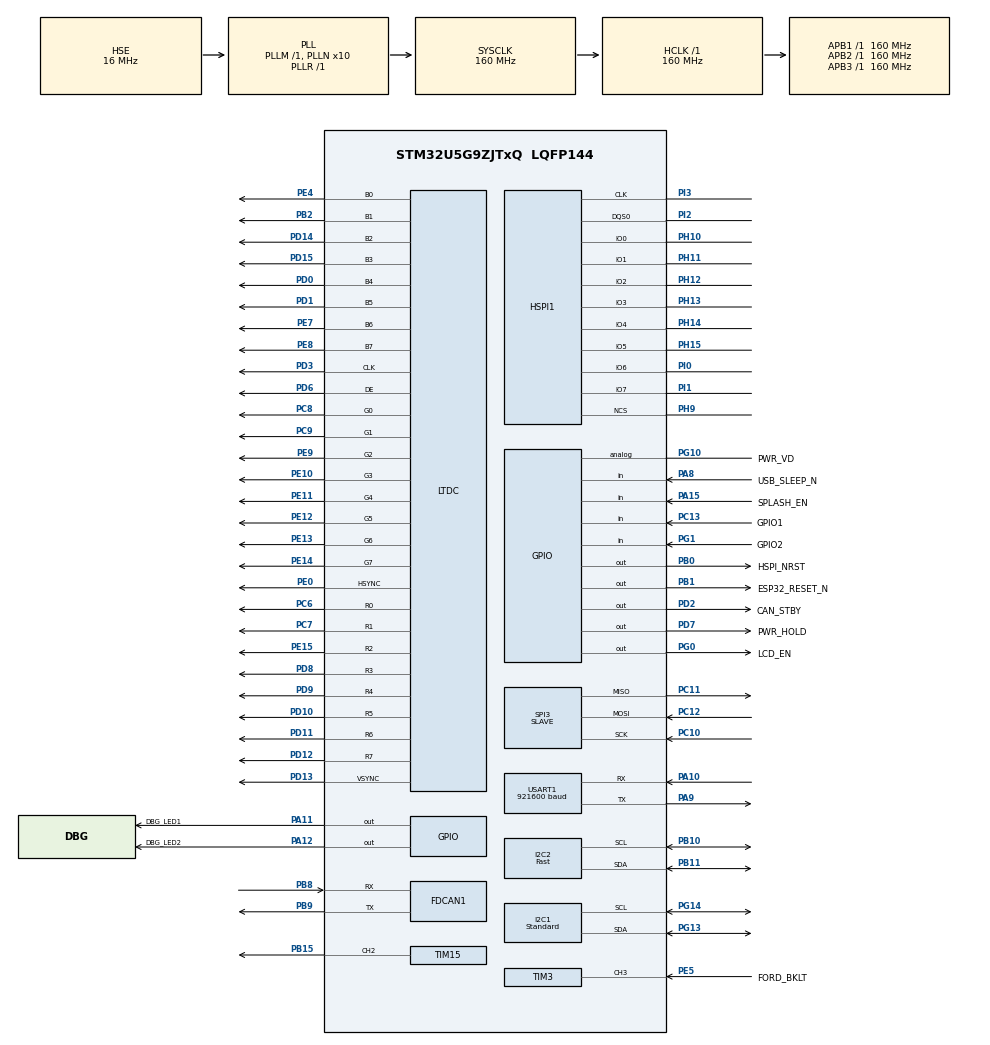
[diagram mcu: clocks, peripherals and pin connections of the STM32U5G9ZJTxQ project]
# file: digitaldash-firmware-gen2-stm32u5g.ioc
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CORTEX_M33_NS.AccessPermission-Cortex_Memory_Protection_Unit_Region0_Settings=MPU_REGION_PRIV_RO
CORTEX_M33_NS.AccessPermission-Cortex_Memory_Protection_Unit_Region1_Settings=MPU_REGION_ALL_RW
CORTEX_M33_NS.AllocateAttribute-Cortex_Memory_Protection_Unit_Region0_Settings=MPU_R_ALLOCATE
CORTEX_M33_NS.AttributesIndex-Cortex_Memory_Protection_Unit_Region1_Settings=MPU_ATTRIBUTES_NUMBER1
CORTEX_M33_NS.BaseAddress-Cortex_Memory_Protection_Unit_Region0_Settings=0x08000000
CORTEX_M33_NS.BaseAddress-Cortex_Memory_Protection_Unit_Region1_Settings=0xA0000000
CORTEX_M33_NS.CacheableAttribute-Cortex_Memory_Protection_Unit_Region1_Settings=MPU_NOT_CACHEABLE
CORTEX_M33_NS.Enable-Cortex_Memory_Protection_Unit_Region0_Settings=MPU_REGION_ENABLE
CORTEX_M33_NS.Enable-Cortex_Memory_Protection_Unit_Region1_Settings=MPU_REGION_ENABLE
CORTEX_M33_NS.LimitAddress-Cortex_Memory_Protection_Unit_Region0_Settings=0x083FFFFF
CORTEX_M33_NS.LimitAddress-Cortex_Memory_Protection_Unit_Region1_Settings=0xA3FFFFFF
CORTEX_M33_NS.MPU_Control=__NULL
CORTEX_M33_NS.Number-Cortex_Memory_Protection_Unit_Region1_Settings=MPU_REGION_NUMBER1
CORTEX_M33_NS.TransientAttribute-Cortex_Memory_Protection_Unit_Region1_Settings=MPU_NON_TRANSIENT
CORTEX_M33_NS.userName=CORTEX_M33
DMA2D.ColorMode=DMA2D_OUTPUT_ARGB8888
DMA2D.Mode=DMA2D_M2M
FDCAN1.AutoRetransmission=ENABLE
FDCAN1.CalculateBaudRateNominal=500000
FDCAN1.CalculateTimeBitNominal=2000
FDCAN1.CalculateTimeQuantumNominal=125.0
FDCAN1.ClockDivider=FDCAN_CLOCK_DIV1
FDCAN1.DataPrescaler=10
FDCAN1.DataTimeSeg1=13
FDCAN1.DataTimeSeg2=2
FDCAN1.ExtFiltersNbr=0
FDCAN1.Mode=FDCAN_MODE_NORMAL
FDCAN1.NominalPrescaler=10
FDCAN1.NominalTimeSeg1=13
FDCAN1.NominalTimeSeg2=2
FDCAN1.ProtocolException=DISABLE
FDCAN1.StdFiltersNbr=28
FLASH.B1_BLOCK_active=true
FLASH.B1_endPage=511
FLASH.B2_Bank=FLASH_BANK_2
FLASH.B2_endPage=255
FLASH.OB_Boot_Configuration_active_NS0=true
FLASH.OB_NSBOOTADD0_Address=0x08000000
GPDMA1.CIRCULARMODE_GPDMACH0=DISABLE
GPDMA1.CIRCULARMODE_GPDMACH1=ENABLE
GPDMA1.DESTINC_GPDMACH1=DMA_DINC_INCREMENTED
GPDMA1.DIRECTION_GPDMACH0=DMA_MEMORY_TO_PERIPH
GPDMA1.IPHANDLE_GPDMACH0-SIMPLEREQUEST_GPDMACH0=__NULL
GPDMA1.IPHANDLE_GPDMACH1-SIMPLEREQUEST_GPDMACH1=__NULL
GPDMA1.PRIORITY_GPDMACH0=DMA_LOW_PRIORITY_MID_WEIGHT
GPDMA1.REQUEST_GPDMACH0=GPDMA1_REQUEST_USART1_TX
GPDMA1.REQUEST_GPDMACH1=GPDMA1_REQUEST_USART1_RX
GPDMA1.SRCINC_GPDMACH0=DMA_SINC_INCREMENTED
GPDMA1.TRIGGERPOLARITY_GPDMACH0=DMA_TRIG_POLARITY_MASKED
GTZC.MPCBB1_PrivConfig_array=00000000\:00000000\:00000000\:00000000\:00000000\:00000000\:00000000\:00000000\:00000000\:00000000\:00000000\:00000000\:00000000\:00000000\:00000000\:00000000\:00000000\:00000000\:00000000\:00000000\:00000000\:00000000\:00000000\:00000000\:00000000\:00000000\:00000000\:00000000\:00000000\:00000000\:00000000\:00000000\:00000000\:00000000\:00000000\:00000000\:00000000\:00000000\:00000000\:00000000\:00000000\:00000000\:00000000\:00000000\:00000000\:00000000\:00000000\:00000000
GTZC.MPCBB1_SecConfig_array=00000000\:00000000\:00000000\:00000000\:00000000\:00000000\:00000000\:00000000\:00000000\:00000000\:00000000\:00000000\:00000000\:00000000\:00000000\:00000000\:00000000\:00000000\:00000000\:00000000\:00000000\:00000000\:00000000\:00000000\:00000000\:00000000\:00000000\:00000000\:00000000\:00000000\:00000000\:00000000\:00000000\:00000000\:00000000\:00000000\:00000000\:00000000\:00000000\:00000000\:00000000\:00000000\:00000000\:00000000\:00000000\:00000000\:00000000\:00000000
GTZC.MPCBB2_Area2_Privilege_Start_Address=0x200C0000
GTZC.MPCBB2_Area_Privilege_Start_Address=0x200C0000
GTZC.MPCBB2_PrivConfig_array=00000000\:00000000\:00000000\:00000000
GTZC.MPCBB2_SecConfig_array=00000000\:00000000\:00000000\:00000000
GTZC.MPCBB3_Area2_Privilege_Start_Address=0x200D0000
GTZC.MPCBB3_Area_Privilege_Start_Address=0x200D0000
GTZC.MPCBB3_PrivConfig_array=00000000\:00000000\:00000000\:00000000\:00000000\:00000000\:00000000\:00000000\:00000000\:00000000\:00000000\:00000000\:00000000\:00000000\:00000000\:00000000\:00000000\:00000000\:00000000\:00000000\:00000000\:00000000\:00000000\:00000000\:00000000\:00000000\:00000000\:00000000\:00000000\:00000000\:00000000\:00000000\:00000000\:00000000\:00000000\:00000000\:00000000\:00000000\:00000000\:00000000\:00000000\:00000000\:00000000\:00000000\:00000000\:00000000\:00000000\:00000000\:00000000\:00000000\:00000000\:00000000
GTZC.MPCBB3_SecConfig_array=00000000\:00000000\:00000000\:00000000\:00000000\:00000000\:00000000\:00000000\:00000000\:00000000\:00000000\:00000000\:00000000\:00000000\:00000000\:00000000\:00000000\:00000000\:00000000\:00000000\:00000000\:00000000\:00000000\:00000000\:00000000\:00000000\:00000000\:00000000\:00000000\:00000000\:00000000\:00000000\:00000000\:00000000\:00000000\:00000000\:00000000\:00000000\:00000000\:00000000\:00000000\:00000000\:00000000\:00000000\:00000000\:00000000\:00000000\:00000000\:00000000\:00000000\:00000000\:00000000
GTZC.MPCBB4_PrivConfig_array=00000000
GTZC.MPCBB4_SecConfig_array=00000000
GTZC.MPCBB5_Area2_Privilege_Start_Address=0x201A0000
GTZC.MPCBB5_Area_Privilege_Start_Address=0x201A0000
GTZC.MPCBB5_PrivConfig_array=00000000\:00000000\:00000000\:00000000\:00000000\:00000000\:00000000\:00000000\:00000000\:00000000\:00000000\:00000000\:00000000\:00000000\:00000000\:00000000\:00000000\:00000000\:00000000\:00000000\:00000000\:00000000\:00000000\:00000000\:00000000\:00000000\:00000000\:00000000\:00000000\:00000000\:00000000\:00000000\:00000000\:00000000\:00000000\:00000000\:00000000\:00000000\:00000000\:00000000\:00000000\:00000000\:00000000\:00000000\:00000000\:00000000\:00000000\:00000000\:00000000\:00000000\:00000000\:00000000
GTZC.MPCBB5_SecConfig_array=00000000\:00000000\:00000000\:00000000\:00000000\:00000000\:00000000\:00000000\:00000000\:00000000\:00000000\:00000000\:00000000\:00000000\:00000000\:00000000\:00000000\:00000000\:00000000\:00000000\:00000000\:00000000\:00000000\:00000000\:00000000\:00000000\:00000000\:00000000\:00000000\:00000000\:00000000\:00000000\:00000000\:00000000\:00000000\:00000000\:00000000\:00000000\:00000000\:00000000\:00000000\:00000000\:00000000\:00000000\:00000000\:00000000\:00000000\:00000000\:00000000\:00000000\:00000000\:00000000
GTZC.MPCBB6_PrivConfig_array=00000000\:00000000\:00000000\:00000000\:00000000\:00000000\:00000000\:00000000\:00000000\:00000000\:00000000\:00000000\:00000000\:00000000\:00000000\:00000000\:00000000\:00000000\:00000000\:00000000\:00000000\:00000000\:00000000\:00000000\:00000000\:00000000\:00000000\:00000000\:00000000\:00000000\:00000000\:00000000
GTZC.MPCBB6_SecConfig_array=00000000\:00000000\:00000000\:00000000\:00000000\:00000000\:00000000\:00000000\:00000000\:00000000\:00000000\:00000000\:00000000\:00000000\:00000000\:00000000\:00000000\:00000000\:00000000\:00000000\:00000000\:00000000\:00000000\:00000000\:00000000\:00000000\:00000000\:00000000\:00000000\:00000000\:00000000\:00000000
HSPI1.ChipSelectBoundary=HAL_XSPI_BONDARYOF_NONE
HSPI1.ChipSelectHighTimeCycle=2
HSPI1.DeviceType=SPI_DEVICE_FLASH
HSPI1.FifoThresholdByte=4
HSPI1.MemorySize=HAL_XSPI_SIZE_512MB
HSPI1.MemoryType=HAL_XSPI_MEMTYPE_MACRONIX
I2C1.AutonomousMode=AUTONOMOUS_MODE_DISABLE
I2C1.I2C_Speed_Mode=I2C_Standard
I2C1.OwnAddress=0x2a
I2C1.Timing=0x30909DEC
I2C2.I2C_Speed_Mode=I2C_Fast
I2C2.Timing=0x00F07BFF
LTDC.ActiveH=480
LTDC.ActiveW=800
LTDC.Alpha_L0=255
LTDC.BlendingFactor1_L0=LTDC_BLENDING_FACTOR1_PAxCA
LTDC.BlendingFactor2_L0=LTDC_BLENDING_FACTOR2_PAxCA
LTDC.HBP=16
LTDC.HFP=100
LTDC.HSPolarity=LTDC_HSPOLARITY_AL
LTDC.HSync=30
LTDC.ImageHeight_L0=200
LTDC.ImageWidth_L0=800
LTDC.Layers=0
LTDC.PCPolarity=LTDC_PCPOLARITY_IPC
LTDC.PixelFormat_L0=LTDC_PIXEL_FORMAT_RGB888
LTDC.VBP=10
LTDC.VFP=22
LTDC.VSPolarity=LTDC_VSPOLARITY_AL
LTDC.VSync=13
LTDC.WindowX1_L0=800
LTDC.WindowY1_L0=200
Mcu.Family=STM32U5
Mcu.Name=STM32U5G9ZJTxQ
Mcu.Package=LQFP144
NVIC.DMA2D_IRQn=true\:1\:0\:true\:false\:true\:true\:true\:true
NVIC.FDCAN1_IT0_IRQn=true\:0\:0\:false\:false\:true\:true\:true\:true
NVIC.GPDMA1_Channel0_IRQn=true\:0\:0\:false\:false\:true\:false\:true\:true
NVIC.GPDMA1_Channel1_IRQn=true\:0\:0\:false\:false\:true\:false\:true\:true
NVIC.GPU2D_IRQn=true\:1\:0\:true\:false\:true\:true\:true\:true
NVIC.I2C1_ER_IRQn=true\:0\:0\:false\:false\:true\:true\:true\:true
NVIC.I2C1_EV_IRQn=true\:0\:0\:false\:false\:true\:true\:true\:true
NVIC.LTDC_IRQn=true\:1\:0\:true\:false\:true\:true\:true\:true
NVIC.PriorityGroup=NVIC_PRIORITYGROUP_4
NVIC.SPI3_IRQn=true\:0\:0\:false\:false\:true\:true\:true\:true
NVIC.TIM17_IRQn=true\:0\:0\:false\:false\:true\:true\:true\:true
NVIC.USART1_IRQn=true\:2\:0\:true\:false\:true\:true\:true\:true
PA10.Mode=Asynchronous
PA10.Signal=USART1_RX
PA11.GPIO_Label=DBG_LED1
PA11.Signal=GPIO_Output
PA12.GPIO_Label=DBG_LED2
PA12.Signal=GPIO_Output
PA13\ (JTMS/SWDIO).Mode=Trace_Asynchronous_SW
PA13\ (JTMS/SWDIO).Signal=DEBUG_JTMS-SWDIO
PA14\ (JTCK/SWCLK).Mode=Trace_Asynchronous_SW
PA14\ (JTCK/SWCLK).Signal=DEBUG_JTCK-SWCLK
PA15\ (JTDI).GPIO_Label=SPLASH_EN
PA15\ (JTDI).GPIO_PuPd=GPIO_PULLDOWN
PA15\ (JTDI).Signal=GPIO_Input
PA5.Signal=USART3_RX
PA7.Signal=USART3_TX
PA8.GPIO_Label=USB_SLEEP_N
PA8.Signal=GPIO_Input
PA9.Mode=Asynchronous
PA9.Signal=USART1_TX
PB0.GPIO_Label=HSPI_NRST
PB0.Signal=GPIO_Output
PB1.GPIO_Label=ESP32_RESET_N
PB1.GPIO_ModeDefaultOutputPP=GPIO_MODE_OUTPUT_PP
PB1.GPIO_PuPd=GPIO_NOPULL
PB1.PinState=GPIO_PIN_RESET
PB1.Signal=GPIO_Output
PB10.GPIO_Pu=GPIO_NOPULL
PB10.GPIO_Speed=GPIO_SPEED_FREQ_LOW
PB10.Mode=I2C
PB10.Signal=I2C2_SCL
PB11.GPIO_Pu=GPIO_NOPULL
PB11.GPIO_Speed=GPIO_SPEED_FREQ_LOW
PB11.Mode=I2C
PB11.Signal=I2C2_SDA
PB15.Signal=S_TIM15_CH2
PB2.GPIO_Speed=GPIO_SPEED_FREQ_HIGH
PB2.Mode=RGB888
PB2.Signal=LTDC_B1
PB3\ (JTDO/TRACESWO).Mode=Trace_Asynchronous_SW
PB3\ (JTDO/TRACESWO).Signal=DEBUG_JTDO-SWO
PB5.Signal=SPI1_MOSI
PB8.Mode=FDCAN_Activate
PB8.Signal=FDCAN1_RX
PB9.Mode=FDCAN_Activate
PB9.Signal=FDCAN1_TX
PC10.Mode=Full_Duplex_Slave
PC10.Signal=SPI3_SCK
PC11.Mode=Full_Duplex_Slave
PC11.Signal=SPI3_MISO
PC12.Mode=Full_Duplex_Slave
PC12.Signal=SPI3_MOSI
PC13.GPIO_Label=GPIO1
PC13.Signal=GPIO_Input
PC6.GPIO_Speed=GPIO_SPEED_FREQ_HIGH
PC6.Mode=RGB888
PC6.Signal=LTDC_R0
PC7.GPIO_Speed=GPIO_SPEED_FREQ_HIGH
PC7.Mode=RGB888
PC7.Signal=LTDC_R1
PC8.GPIO_Speed=GPIO_SPEED_FREQ_HIGH
PC8.Mode=RGB888
PC8.Signal=LTDC_G0
PC9.GPIO_Speed=GPIO_SPEED_FREQ_HIGH
PC9.Mode=RGB888
PC9.Signal=LTDC_G1
PD0.GPIO_Speed=GPIO_SPEED_FREQ_HIGH
PD0.Mode=RGB888
PD0.Signal=LTDC_B4
PD1.GPIO_Speed=GPIO_SPEED_FREQ_HIGH
PD1.Mode=RGB888
PD1.Signal=LTDC_B5
PD10.GPIO_Speed=GPIO_SPEED_FREQ_HIGH
PD10.Mode=RGB888
PD10.Signal=LTDC_R5
PD11.GPIO_Speed=GPIO_SPEED_FREQ_HIGH
PD11.Mode=RGB888
PD11.Signal=LTDC_R6
PD12.GPIO_Speed=GPIO_SPEED_FREQ_HIGH
PD12.Mode=RGB888
PD12.Signal=LTDC_R7
PD13.GPIO_Speed=GPIO_SPEED_FREQ_HIGH
PD13.Mode=RGB888
PD13.Signal=LTDC_VSYNC
PD14.GPIO_Speed=GPIO_SPEED_FREQ_HIGH
PD14.Mode=RGB888
PD14.Signal=LTDC_B2
PD15.GPIO_Speed=GPIO_SPEED_FREQ_HIGH
PD15.Mode=RGB888
PD15.Signal=LTDC_B3
PD2.GPIO_Label=CAN_STBY
PD2.Signal=GPIO_Output
PD3.GPIO_Speed=GPIO_SPEED_FREQ_HIGH
PD3.Mode=RGB888
PD3.Signal=LTDC_CLK
PD6.GPIO_Speed=GPIO_SPEED_FREQ_HIGH
PD6.Mode=RGB888
PD6.Signal=LTDC_DE
PD7.GPIO_Label=PWR_HOLD
PD7.Signal=GPIO_Output
PD8.GPIO_Speed=GPIO_SPEED_FREQ_HIGH
PD8.Mode=RGB888
PD8.Signal=LTDC_R3
PD9.GPIO_Speed=GPIO_SPEED_FREQ_HIGH
PD9.Mode=RGB888
PD9.Signal=LTDC_R4
PE0.GPIO_Speed=GPIO_SPEED_FREQ_HIGH
PE0.Mode=RGB888
PE0.Signal=LTDC_HSYNC
PE10.GPIO_Speed=GPIO_SPEED_FREQ_HIGH
PE10.Mode=RGB888
PE10.Signal=LTDC_G3
PE11.GPIO_Speed=GPIO_SPEED_FREQ_HIGH
PE11.Mode=RGB888
PE11.Signal=LTDC_G4
PE12.GPIO_Speed=GPIO_SPEED_FREQ_HIGH
PE12.Mode=RGB888
PE12.Signal=LTDC_G5
PE13.GPIO_Speed=GPIO_SPEED_FREQ_HIGH
PE13.Mode=RGB888
PE13.Signal=LTDC_G6
PE14.GPIO_Speed=GPIO_SPEED_FREQ_HIGH
PE14.Mode=RGB888
PE14.Signal=LTDC_G7
PE15.GPIO_Speed=GPIO_SPEED_FREQ_HIGH
PE15.Mode=RGB888
PE15.Signal=LTDC_R2
PE4.GPIO_Speed=GPIO_SPEED_FREQ_HIGH
PE4.Mode=RGB888
PE4.Signal=LTDC_B0
PE5.GPIO_Label=FORD_BKLT
PE5.Signal=S_TIM3_CH3
PE7.GPIO_Speed=GPIO_SPEED_FREQ_HIGH
PE7.Mode=RGB888
PE7.Signal=LTDC_B6
PE8.GPIO_Speed=GPIO_SPEED_FREQ_HIGH
PE8.Mode=RGB888
PE8.Signal=LTDC_B7
PE9.GPIO_Speed=GPIO_SPEED_FREQ_HIGH
PE9.Mode=RGB888
PE9.Signal=LTDC_G2
PG0.GPIO_Label=LCD_EN
PG0.PinState=GPIO_PIN_RESET
PG0.Signal=GPIO_Output
PG1.GPIO_Label=GPIO2
PG1.Signal=GPIO_Input
PG10.GPIO_Label=PWR_VD
PG10.Signal=GPIO_Analog
PG13.GPIO_Pu=GPIO_PULLUP
PG13.GPIO_Speed=GPIO_SPEED_FREQ_VERY_HIGH
PG13.Mode=I2C
PG13.Signal=I2C1_SDA
PG14.GPIO_Pu=GPIO_PULLUP
PG14.GPIO_Speed=GPIO_SPEED_FREQ_VERY_HIGH
PG14.Mode=I2C
PG14.Signal=I2C1_SCL
PH0-OSC_IN\ (PH0).Mode=HSE-External-Oscillator
PH0-OSC_IN\ (PH0).Signal=RCC_OSC_IN
PH1-OSC_OUT\ (PH1).Mode=HSE-External-Oscillator
PH1-OSC_OUT\ (PH1).Signal=RCC_OSC_OUT
PH10.Mode=octo_mode
PH10.Signal=HSPI1_IO0
PH11.Mode=octo_mode
PH11.Signal=HSPI1_IO1
PH12.Mode=octo_mode
PH12.Signal=HSPI1_IO2
PH13.Mode=octo_mode
PH13.Signal=HSPI1_IO3
PH14.Mode=octo_mode
PH14.Signal=HSPI1_IO4
PH15.Mode=octo_mode
PH15.Signal=HSPI1_IO5
PH9.Mode=octo_mode
PH9.Signal=HSPI1_NCS
PI0.Mode=octo_mode
PI0.Signal=HSPI1_IO6
PI1.Mode=octo_mode
PI1.Signal=HSPI1_IO7
PI2.Mode=octo_mode
PI2.Signal=HSPI1_DQS0
PI3.Mode=octo_mode
PI3.Signal=HSPI1_CLK
PWR.PowerMode=PWR_SMPS_SUPPLY
ProjectManager.HeapSize=0x200
ProjectManager.StackSize=0x400
ProjectManager.TargetToolchain=STM32CubeIDE
RCC.ADCFreq_Value=16000000
RCC.AHBFreq_Value=160000000
RCC.APB1Freq_Value=160000000
RCC.APB1TimFreq_Value=160000000
RCC.APB2Freq_Value=160000000
RCC.APB2TimFreq_Value=160000000
RCC.APB3Freq_Value=160000000
RCC.CortexFreq_Value=160000000
RCC.EPOD_VALUE=16000000
RCC.HCLKFreq_Value=160000000
RCC.HSE_VALUE=16000000
RCC.HSI48_VALUE=48000000
RCC.HSI_VALUE=16000000
RCC.HSPICLockSelection=RCC_HSPICLKSOURCE_PLL2
RCC.LSE_VALUE=32768
RCC.LSIDIV_VALUE=32000
RCC.LTDCCLockSelection=RCC_LTDCCLKSOURCE_PLL3
RCC.MSIClockRange=RCC_MSIRANGE_0
RCC.MSI_VALUE=48000000
RCC.PLL1P=8
RCC.PLL1R=1
RCC.PLL2FRACN=5120
RCC.PLL2N=15
RCC.PLL2R=4
RCC.PLL2Source=RCC_PLLSOURCE_HSE
RCC.PLL3FRACN=3584
RCC.PLL3N=8
RCC.PLL3R=3
RCC.PLL3Source=RCC_PLLSOURCE_HSE
RCC.PLLFRACN=0
RCC.PLLN=10
RCC.PLLSourceVirtual=RCC_PLLSOURCE_HSE
RCC.SYSCLKFreq_VALUE=160000000
RCC.SYSCLKSource=RCC_SYSCLKSOURCE_PLLCLK
RCC.VCOOutputFreq_Value=160000000
SH.S_TIM15_CH2.0=TIM15_CH2,PWM Generation2 CH2
SH.S_TIM3_CH3.0=TIM3_CH3,Input_Capture3_from_TI3
SPI3.Direction=SPI_DIRECTION_2LINES
SPI3.Mode=SPI_MODE_SLAVE
SPI3.VirtualType=VM_SLAVE
TIM15.AutoReloadPreload=TIM_AUTORELOAD_PRELOAD_ENABLE
TIM15.Channel-PWM\ Generation2\ CH2=TIM_CHANNEL_2
TIM15.PeriodNoDither=6399
TIM15.PulseNoDither_2=2560
TIM17.AutoReloadPreload=TIM_AUTORELOAD_PRELOAD_ENABLE
TIM17.PeriodNoDither=9
TIM17.Prescaler=15999
TIM3.Channel-Input_Capture3_from_TI3=TIM_CHANNEL_3
USART1.BaudRate=921600
USART1.Parity=PARITY_EVEN
USART1.VirtualMode-Asynchronous=VM_ASYNC
USART1.WordLength=WORDLENGTH_9B
VP_DCACHE1_VS_DCACHE.Mode=DCACHE_Activate
VP_DCACHE2_VS_DCACHE.Mode=DCACHE_Activate
VP_DMA2D_VS_DMA2D.Mode=DMA2D_Activate
VP_FLASH_SIG_Activate_FlashIP.Mode=Activate_FlashIP
VP_GPDMA1_VS_GPDMACH0.Mode=SIMPLEREQUEST_GPDMACH0
VP_GPDMA1_VS_GPDMACH1.Mode=SIMPLEREQUEST_GPDMACH1
VP_GPU2D_VS_GPU2D.Mode=GPU2D_Activate
VP_GTZC_VS_GTZC_Enable.Mode=GTZC_Enable
VP_ICACHE_VS_ICACHE.Mode=DirectMappedCache
VP_LPBAMQUEUE_VS_QUEUE.Mode=QUEUEMODE
VP_LPBAM_VS_SIG1.Mode=SmartRun
VP_LPBAM_VS_SIG4.Mode=LPDMA1
VP_MEMORYMAP_VS_MEMORYMAP.Mode=CurAppReg
VP_PWR_VS_LPOM.Mode=PowerOptimisation
VP_PWR_VS_SECSignals.Mode=Security/Privilege
VP_RTC_VS_RTC_Activate.Mode=RTC_Enabled
VP_TIM17_VS_ClockSourceINT.Mode=Enable_Timer
VP_TIM3_VS_ClockSourceINT.Mode=Internal
board=STM32U5G9J-DK2

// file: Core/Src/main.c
/* USER CODE BEGIN Header */
/**
  ******************************************************************************
  * @file           : main.c
  * @brief          : Main program body
  ******************************************************************************
  * @attention
  *
  * Copyright (c) 2025 STMicroelectronics.
  * All rights reserved.
  *
  * This software is licensed under terms that can be found in the LICENSE file
  * in the root directory of this software component.
  * If no LICENSE file comes with this software, it is provided AS-IS.
  *
  ******************************************************************************
  */
/* USER CODE END Header */
#include "main.h"
#include "dcache.h"
#include "dma2d.h"
#include "fdcan.h"
#include "flash.h"
#include "gpdma.h"
#include "gpu2d.h"
#include "gtzc.h"
#include "hspi.h"
#include "i2c.h"
#include "icache.h"
#include "ltdc.h"
#include "memorymap.h"
#include "rtc.h"
#include "spi.h"
#include "tim.h"
#include "usart.h"
#include "gpio.h"

/* USER CODE BEGIN Includes */
#include <string.h>
#include "stdbool.h"
#include "ltdc.h"
#include "dma2d.h"
#include "lvgl_port_display.h"
#include "stm32u5g9j_discovery_hspi.h"
#include "lib_digital_dash.h"
#include "eeprom_24cw.h"
/* USER CODE END Includes */

/* USER CODE BEGIN PD */
#define BKLT_MIN_DUTY 3
#define BKLT_MAX_DUTY 100
#define BKLT_TIM &htim15
#define BKLT_TIM_CHANNEL TIM_CHANNEL_2

#define ESP32_UART &huart1 /* ESP32 communication channel */
#define ESP32_I2C &hi2c1 /* ESP32 to STM32 I2C channel */
#define EEPROM_I2C &hi2c2 /* EEPROM I2C channel */

#define EXT_CAN_BUS &hfdcan1 /* External CAN bus channel */

#define RX_BUFFER_SIZE 0xFFFF
/*
 * Keep this DMA buffer in internal SRAM.  The STM32U5 system DCACHE caches
 * external-memory traffic, so internal SRAM remains coherent with GPDMA.
 */
uint8_t rx_buffer[RX_BUFFER_SIZE];
/* USER CODE END PD */

/* USER CODE BEGIN PV */
uint32_t CAN_Filter_Count = 0;

/* UART RX'd byte */
#define EEPROM_ADDRESS_SIZE 2
#define EEPROM_DATA_SIZE 1
static uint8_t i2c_rx_index = 0;
static uint8_t i2c_buffer[EEPROM_ADDRESS_SIZE + EEPROM_DATA_SIZE] = {0};
static uint16_t current_register = 0;
static uint32_t uart_rx_read_position = 0;
static volatile bool uart_rx_activity = false;
static volatile bool uart_rx_recovery_requested = false;
static volatile uint32_t uart_rx_error_count = 0;
static volatile uint32_t uart_rx_last_error = HAL_UART_ERROR_NONE;
static volatile uint32_t uart_rx_recovery_count = 0;

// You cannot search hardware filters by ID directly, therefore maintain a map of filter indexes and their IDs.
#define CAN_FILTER_UNUSED 0x0000
uint16_t can_filters[MAX_CAN_FILTERS] = {CAN_FILTER_UNUSED};

#define VIEW_BACKGROUND_USER1_ADDR 0x00000000
#define ERASE_BLOCK_SIZE     MX25LM51245G_ERASE_64K
#define ERASE_BLOCK_BYTES    65536
#define ERASE_TOTAL_BYTES    UI_HOR_RES * UI_VER_RES * UI_BYTES_PER_PIXEL

#define BOOT_COOKIE     0xB0073A3Fu
#define BOOT_COOKIE_INV (~BOOT_COOKIE)

/* USER CODE END PV */

void SystemClock_Config(void);
static void SystemPower_Config(void);
/* USER CODE BEGIN PFP */
static void UART_RecoverRxDma(void);
static void UART_ProcessRxDma(void);

/* USER CODE END PFP */

/* USER CODE BEGIN 0 */

// Function to read data from EEPROM
uint8_t eeprom_read(uint16_t bAdd)
{
	return eeprom_24cw_read(EEPROM_I2C, bAdd);
}

// Function to write data to EEPROM with retries
void eeprom_write(uint16_t bAdd, uint8_t bData)
{
	eeprom_24cw_write(EEPROM_I2C, bAdd, bData);
}

void HAL_SPI_RxCpltCallback(SPI_HandleTypeDef *hspi)
{
	 //HAL_GPIO_TogglePin(GREEN_LED_GPIO_Port, GREEN_LED_Pin);
	 //HAL_SPI_Receive_IT(&hspi1, rx_buffer, sizeof(rx_buffer));
}

/**
  * @brief  Tx Transfer completed callback.
  *   I2cHandle: I2C handle.
  * @note   This example shows a simple way to report end of IT Tx transfer, and
  *         you can add your own implementation.
  */

void HAL_I2C_SlaveTxCpltCallback(I2C_HandleTypeDef *hi2c)
{

}

uint8_t value = 0x12;//eeprom_read(reg);
volatile uint16_t reg = 0;

/**
  * @brief  Rx Transfer completed callback.
  *   I2cHandle: I2C handle
  * @note   This example shows a simple way to report end of IT Rx transfer, and
  *         you can add your own implementation.
  * @retval None
  */
void HAL_I2C_SlaveRxCpltCallback(I2C_HandleTypeDef *hi2c)
{
	if (hi2c == ESP32_I2C) {
		i2c_rx_index++;

		if (i2c_rx_index == 1) {
			// Received first byte (register LSB)
			HAL_I2C_Slave_Seq_Receive_IT(hi2c, &i2c_buffer[1], 1, I2C_NEXT_FRAME);  // now receive second byte (MSB)
		} else if (i2c_rx_index == 2) {
			current_register = (i2c_buffer[1] << 8) | i2c_buffer[0];

			// Now try to receive optional 3rd byte (data) — if it doesn't come, it's a read-only setup
			HAL_I2C_Slave_Seq_Receive_IT(hi2c, &i2c_buffer[2], 1, I2C_LAST_FRAME);
		} else if (i2c_rx_index == 3) {
			// Third byte is data to be written to the register
			write_eeprom(current_register, i2c_buffer[2]);
			i2c_rx_index = 0;  // Reset for next transaction
		} else {
		    // Unexpected extra data
		    i2c_rx_index = 0;
		}
	}
}

/**
  * @brief  Slave Address Match callback.
  *   hi2c Pointer to a I2C_HandleTypeDef structure that contains
  *                the configuration information for the specified I2C.
  *   TransferDirection: Master request Transfer Direction (Write/Read), value of @ref I2C_XferOptions_definition
  *   AddrMatchCode: Address Match Code
  * @retval None
  */
uint32_t count = 0;
void HAL_I2C_AddrCallback(I2C_HandleTypeDef *hi2c, uint8_t TransferDirection, uint16_t AddrMatchCode) {
	if( hi2c == ESP32_I2C ) {
		// Write
		if (TransferDirection == I2C_DIRECTION_TRANSMIT) {
			i2c_rx_index = 0;  // Reset index at start of new write
			if (HAL_I2C_Slave_Seq_Receive_IT(hi2c, i2c_buffer, 1, I2C_FIRST_FRAME) != HAL_OK) {
				Error_Handler();
			}

		// Read
		} else {
			i2c_rx_index = 0; // A read has started, reset the index
			value = get_eeprom_byte(current_register);
			if (HAL_I2C_Slave_Seq_Transmit_IT(hi2c, &value, 1, I2C_FIRST_AND_LAST_FRAME) != HAL_OK) {
				Error_Handler();
			}
		}
	}
}

/**
  * @brief  Listen Complete callback.
  *   hi2c Pointer to a I2C_HandleTypeDef structure that contains
  *                the configuration information for the specified I2C.
  * @retval None
  */
void HAL_I2C_ListenCpltCallback(I2C_HandleTypeDef *hi2c)
{
	HAL_I2C_EnableListen_IT(hi2c);
}

/**
  * @brief  I2C error callbacks.
  *   I2cHandle: I2C handle
  * @note   This example shows a simple way to report transfer error, and you can
  *         add your own implementation.
  * @retval None
  */
void HAL_I2C_ErrorCallback(I2C_HandleTypeDef *hi2c)
{
	uint32_t errorcode = HAL_I2C_GetError(hi2c);

	/* BERR Error commonly occurs during the Direction switch
	 * Here we the software reset bit is set by the HAL error handler
	 * Before resetting this bit, we make sure the I2C lines are released and the bus is free
	 * I am simply reinitializing the I2C to do so
	 */
	if (errorcode == 1)  // BERR Error
	{
		HAL_I2C_DeInit(hi2c);
		HAL_I2C_Init(hi2c);
	}

	HAL_I2C_EnableListen_IT(hi2c);
}

HAL_StatusTypeDef can_filter_add( uint32_t id, uint32_t mask, uint32_t filterIndex, uint32_t FIFO  )
{
	HAL_StatusTypeDef status = HAL_OK;

	//TODO check if CAN is enabled
	if( HAL_FDCAN_GetState(EXT_CAN_BUS) != HAL_FDCAN_STATE_RESET ) {
		status = HAL_FDCAN_Stop(EXT_CAN_BUS);

		// Abort is CAN couldn't be stopped
		if( status != HAL_OK )
			return status;
	}

	/* Declare a CAN filter configuration */
	FDCAN_FilterTypeDef  sFilterConfig;

	/* Verify the filter bank is possible */
	if ( ( filterIndex >= 0 ) && ( filterIndex < MAX_CAN_FILTERS ) )
		sFilterConfig.FilterIndex = filterIndex;
	else
		return -1;

	sFilterConfig.FilterType = FDCAN_FILTER_RANGE;
	sFilterConfig.IdType = FDCAN_STANDARD_ID;
	sFilterConfig.FilterID1 = id;
	sFilterConfig.FilterID2 = 0x7FF;
	sFilterConfig.FilterConfig  = FIFO;
	sFilterConfig.FilterIndex = filterIndex;

	status = HAL_FDCAN_ConfigFilter(EXT_CAN_BUS, &sFilterConfig);

	// Abort is CAN filter did not work
	if( status != HAL_OK )
		return status;

	// The CAN Filter return HAL_OK, log it in the can_filters map.
	can_filters[filterIndex] = id;

	return HAL_FDCAN_Start(EXT_CAN_BUS);
}

HAL_StatusTypeDef can_filter_remove( uint32_t id, uint32_t mask )
{
	HAL_StatusTypeDef status = HAL_OK;

	// Stop the CAN controller if it's not already reset
	if( HAL_FDCAN_GetState(EXT_CAN_BUS) != HAL_FDCAN_STATE_RESET ) {
		status = HAL_FDCAN_Stop(EXT_CAN_BUS);

		// Abort is CAN couldn't be stopped
		if( status != HAL_OK )
			return status;
	}

	uint32_t filterIndex = 0xFFFF;

	// Search for the ID
	for( uint32_t idx = 0; idx < MAX_CAN_FILTERS; idx++ )
	{
		if( can_filters[idx] == id ) {
			filterIndex = idx;
			break;  // Stop searching once found
		}
	}

	// The ID was not found
	if( filterIndex == 0xFFFF )
		return HAL_ERROR;

    // Prepare filter config to disable the filter
    FDCAN_FilterTypeDef sFilterConfig;
    sFilterConfig.FilterIndex  = filterIndex;
    sFilterConfig.FilterConfig = FDCAN_FILTER_DISABLE;
    sFilterConfig.FilterType   = FDCAN_FILTER_MASK;     // Doesn't matter when disabling
    sFilterConfig.IdType       = FDCAN_STANDARD_ID;
    sFilterConfig.FilterID1    = 0;
    sFilterConfig.FilterID2    = 0;

    status = HAL_FDCAN_ConfigFilter(EXT_CAN_BUS, &sFilterConfig);
    if (status != HAL_OK)
        return status;

    // The CAN Filter return HAL_OK, remove it in the can_filters map.
    can_filters[filterIndex] = CAN_FILTER_UNUSED;

    return HAL_FDCAN_Start(EXT_CAN_BUS);
}

void CAN_Filter( uint16_t id, uint8_t enable )
{
	if(enable)
	{
		if( CAN_Filter_Count < MAX_CAN_FILTERS ) {
			can_filter_add( id, 0x7FF, CAN_Filter_Count++, FDCAN_FILTER_TO_RXFIFO0 ); // TODO add error handling
		}
	} else {
		if( CAN_Filter_Count > 0 ) {
			can_filter_remove( id, 0x7FF );
			CAN_Filter_Count--;
		}
	}

}

void process_can_packet( FDCAN_HandleTypeDef *hfdcan, uint32_t fifo )
{
    FDCAN_RxHeaderTypeDef rx_header;
    uint8_t rx_buf[8];
    HAL_FDCAN_GetRxMessage( hfdcan, FDCAN_RX_FIFO0, &rx_header, rx_buf );

    if( rx_header.IdType == FDCAN_STANDARD_ID ) {
    	DigitalDash_Add_CAN_Packet( rx_header.Identifier ,rx_buf);
    }
}

void HAL_FDCAN_RxFifo0Callback(FDCAN_HandleTypeDef *hfdcan, uint32_t RxFifo0ITs)
{
    process_can_packet( hfdcan, RxFifo0ITs );
}

void HAL_FDCAN_RxFifo1MsgPendingCallback(FDCAN_HandleTypeDef *hfdcan, uint32_t RxFifo1ITs)
{
    process_can_packet( hfdcan, RxFifo1ITs );
}

static uint8_t ECU_CAN_Tx( uint8_t data[], uint8_t len )
{
	if( !IS_FDCAN_DLC(len) ) {
		Error_Handler();
	}

	/* Do not send on Listen Only mode */
	if( get_general_can_bus_mode(0) != CAN_BUS_MODE_NORMAL_MODE ) {
		return 1;
	}

	FDCAN_TxHeaderTypeDef Header = {
	           .Identifier          = 0x7E0,
	           .IdType              = FDCAN_STANDARD_ID,
	           .TxFrameType         = FDCAN_DATA_FRAME,
	           .DataLength          = len,
			   .ErrorStateIndicator = FDCAN_ESI_PASSIVE,
			   .BitRateSwitch       = FDCAN_BRS_OFF,
			   .FDFormat            = FDCAN_CLASSIC_CAN,
			   .TxEventFifoControl  = FDCAN_NO_TX_EVENTS,
			   .MessageMarker       = 0
	};

    /* Copy the buffer */
    uint8_t tx_buf[8];
    memcpy(tx_buf, data, len);

	/* Start the Transmission process */
	HAL_FDCAN_AddMessageToTxFifoQ(EXT_CAN_BUS, &Header, tx_buf);
	//TODO What happens if tx fails?

	return 1;
}

static void LCD_Brightness( uint8_t brightness )
{
	__HAL_TIM_SET_COMPARE(BKLT_TIM, BKLT_TIM_CHANNEL, 64*brightness);
}

void erase_background(uint32_t start_address)
{
	for (uint32_t offset = 0; offset < BACKGROUND_IMAGE_SIZE; offset += ERASE_BLOCK_BYTES)
	{
		uint32_t block_addr = start_address + offset;
		int32_t result = BSP_HSPI_NOR_Erase_Block(0, block_addr, ERASE_BLOCK_SIZE);

		if (result != BSP_ERROR_NONE)
		{
			break;
		}
	}
}

bool write_background( char *image_buffer, uint32_t image_size, uint8_t idx )
{
	// Memory can only be written when NOT in memory mapped mode.
	if(BSP_HSPI_NOR_DisableMemoryMappedMode(0) == BSP_ERROR_NONE)
	{
		uint32_t background_addr = get_background_addr(idx, ADDR_MEMORYMAPPED_DISABLED);

		// Indicate write in process.
		HAL_GPIO_WritePin(DBG_LED2_GPIO_Port, DBG_LED2_Pin, GPIO_PIN_SET);

		// Erase the current background.
		erase_background(background_addr);

		// Wait for the erase to complete.
		while( BSP_HSPI_NOR_GetStatus(0) != BSP_ERROR_NONE) {
			HAL_Delay(50);
		}

		// Write the new background.
		BSP_HSPI_NOR_Write(0, (uint8_t*)image_buffer, background_addr, image_size);

		// Re-enable Memory mapped mode.
		if( BSP_HSPI_NOR_EnableMemoryMappedMode(0) != BSP_ERROR_NONE)
			Error_Handler();

		// Invalidate DCache
		HAL_DCACHE_Invalidate(&hdcache1);
		HAL_DCACHE_Invalidate(&hdcache2);
		HAL_ICACHE_Invalidate();

		// Force full-screen refresh
		lv_obj_invalidate(lv_scr_act());
		lv_refr_now(lv_disp_get_default());

		// Indicate completion.
		HAL_GPIO_WritePin(DBG_LED2_GPIO_Port, DBG_LED2_Pin, GPIO_PIN_RESET);

		return true;
	} else {
		Error_Handler();
		return false;
	}
}

/**
 * @brief Controls the reset line for the ESP32 host device.
 *
 * This function sets or clears the ESP32 reset pin based on the specified power state.
 * When `HOST_PWR_ENABLED` is passed, the reset pin is driven high to allow the ESP32
 * to run. When any other state is passed, the reset pin is driven low to reset or hold
 * the ESP32 in reset.
 *
 * @param state Desired power state for the ESP32 (e.g., `HOST_PWR_ENABLED` or `HOST_PWR_DISABLED`).
 */
static void esp32_reset( HOST_PWR_STATE state )
{
	if( state == HOST_PWR_ENABLED )
		HAL_GPIO_WritePin(ESP32_RESET_N_GPIO_Port, ESP32_RESET_N_Pin, GPIO_PIN_RESET);
	else
		HAL_GPIO_WritePin(ESP32_RESET_N_GPIO_Port, ESP32_RESET_N_Pin, GPIO_PIN_SET);
}

static void System_Power_Hold( bool state )
{
	if( state )
		HAL_GPIO_WritePin( PWR_HOLD_GPIO_Port, PWR_HOLD_Pin, GPIO_PIN_SET );
	else
		HAL_GPIO_WritePin( PWR_HOLD_GPIO_Port, PWR_HOLD_Pin, GPIO_PIN_RESET );
}

static void system_power( HOST_PWR_STATE state )
{
    if( state == HOST_PWR_ENABLED )
    {
    	// Enable the OSPI in XIP mode
    	// BSP_HSPI_NOR_LeaveDeepPowerDown(0);
    	// HAL_Delay(1);
    	BSP_HSPI_NOR_EnableMemoryMappedMode(0);

    	// Enable the ESP32
    	esp32_reset( HOST_PWR_ENABLED );

    	/*
    	if (!__HAL_RCC_GPDMA1_IS_CLK_ENABLED())
    	    MX_GPDMA1_Init();

    	if (!__HAL_RCC_DMA2D_IS_CLK_ENABLED())
    	    MX_DMA2D_Init();

    	if (!__HAL_RCC_HSPI1_IS_CLK_ENABLED())
    	    MX_HSPI1_Init();

    	if (!__HAL_RCC_I2C2_IS_CLK_ENABLED())
    	    MX_I2C2_Init();

    	if (!HAL_ICACHE_IsEnabled())
    	    MX_ICACHE_Init();

    	if (!__HAL_RCC_LTDC_IS_CLK_ENABLED())
    	    MX_LTDC_Init();

    	if (!__HAL_RCC_RTCAPB_IS_CLK_ENABLED())
    	    MX_RTC_Init();

    	if (!__HAL_RCC_USART1_IS_CLK_ENABLED())
    	    MX_USART1_UART_Init();

    	if (!__HAL_RCC_GPU2D_IS_CLK_ENABLED())
    	    MX_GPU2D_Init();

    	if (!__HAL_RCC_DCACHE1_IS_CLK_ENABLED())
    	    MX_DCACHE1_Init();

    	if (!__HAL_RCC_DCACHE2_IS_CLK_ENABLED())
    	    MX_DCACHE2_Init();

    	if (!__HAL_RCC_FDCAN1_IS_CLK_ENABLED())
    	    MX_FDCAN1_Init();

    	if (!__HAL_RCC_TIM17_IS_CLK_ENABLED())
    	    MX_TIM17_Init();

    	if (!__HAL_RCC_I2C1_IS_CLK_ENABLED())
    	    MX_I2C1_Init();

    	if (!__HAL_RCC_SPI3_IS_CLK_ENABLED())
    	    MX_SPI3_Init();

    	if (!__HAL_RCC_TIM3_IS_CLK_ENABLED())
    	    MX_TIM3_Init();

    	if (!__HAL_RCC_TIM15_IS_CLK_ENABLED())
    	    MX_TIM15_Init();
*/
    } else
    {
    	// Force LCD driver on due to hardware constraint
    	HAL_GPIO_WritePin(LCD_EN_GPIO_Port, LCD_EN_Pin, GPIO_PIN_SET);

    	// Turn off the ESP32
    	esp32_reset( HOST_PWR_DISABLED );

    	// Allow the vehicle to shutdown the Digital Dash
    	System_Power_Hold(0);

    	// Turn off the screen if it is not already
        LCD_Brightness(0);

        // Shut down OSPI
        BSP_HSPI_NOR_DisableMemoryMappedMode(0);

        /*
		//MX_GPIO_Init();
        MX_GPDMA1_DeInit();
        MX_DMA2D_DeInit();
		MX_HSPI1_DeInit();
		MX_I2C1_DeInit();
		MX_I2C2_DeInit();
		MX_ICACHE_DeInit();
		MX_LTDC_DeInit();
		MX_RTC_DeInit();
		MX_USART1_UART_DeInit();
		MX_GPU2D_DeInit();
		MX_DCACHE1_DeInit();
		MX_DCACHE2_DeInit();
		// MX_FDCAN1_DeInit(); <--- Keep CAN Bus active
		MX_TIM3_DeInit();
		MX_TIM15_DeInit();
		MX_TIM17_DeInit();
		MX_SPI3_DeInit();

        //HAL_SuspendTick();  // optional: avoid SysTick instantly waking you
        //HAL_PWR_EnterSLEEPMode(PWR_MAINREGULATOR_ON, PWR_SLEEPENTRY_WFI); // or WFE
        //HAL_ResumeTick();
        //NVIC_SystemReset();
         */
    }
}

static int esp32_tx( uint8_t *data, uint32_t len )
{
    if( HAL_UART_Transmit_DMA(ESP32_UART, data, len) == HAL_OK )
        return 1;
    else
        return 0;
}

void UART_IdleCallback(UART_HandleTypeDef *huart)
{
    if (huart == ESP32_UART)
        uart_rx_activity = true;
}

void HAL_UART_ErrorCallback(UART_HandleTypeDef *huart)
{
    if (huart == ESP32_UART)
    {
        uart_rx_last_error = huart->ErrorCode;
        uart_rx_error_count++;
        uart_rx_recovery_requested = true;
    }
}

static void UART_RecoverRxDma(void)
{
    if (!uart_rx_recovery_requested)
        return;

    /* HAL calls the error callback after its asynchronous DMA abort completes. */
    uart_rx_recovery_requested = false;
    __HAL_UART_DISABLE_IT(ESP32_UART, UART_IT_IDLE);
    __HAL_UART_CLEAR_FLAG(ESP32_UART,
                          UART_CLEAR_PEF | UART_CLEAR_FEF |
                          UART_CLEAR_NEF | UART_CLEAR_OREF |
                          UART_CLEAR_IDLEF);
    __HAL_UART_SEND_REQ(ESP32_UART, UART_RXDATA_FLUSH_REQUEST);

    /* The failed frame invalidates the unread contents of the DMA ring. */
    uart_rx_read_position = 0;
    uart_rx_activity = false;

    if (HAL_UART_Receive_DMA(ESP32_UART, rx_buffer, RX_BUFFER_SIZE) == HAL_OK)
    {
        __HAL_UART_ENABLE_IT(ESP32_UART, UART_IT_IDLE);
        uart_rx_recovery_count++;
    }
    else
    {
        /* Retry from the next main-loop iteration if DMA is not ready yet. */
        uart_rx_recovery_requested = true;
    }
}

static void UART_ProcessRxDma(void)
{
    uint32_t dma_remaining;
    uint32_t dma_write_position;

    /* IDLE is only an activity hint; continuous streams may never go idle. */
    uart_rx_activity = false;

    dma_remaining = __HAL_DMA_GET_COUNTER((ESP32_UART)->hdmarx);
    dma_write_position = RX_BUFFER_SIZE - dma_remaining;
    if (dma_write_position >= RX_BUFFER_SIZE)
        dma_write_position = 0;

    /* Order the DMA counter snapshot before reads from the DMA-written ring. */
    __DMB();

    while (uart_rx_read_position != dma_write_position)
    {
        DigitalDash_Add_UART_byte(rx_buffer[uart_rx_read_position]);

        uart_rx_read_position++;
        if (uart_rx_read_position >= RX_BUFFER_SIZE)
            uart_rx_read_position = 0;
    }
}

bool read_splash_override( void )
{
	if( HAL_GPIO_ReadPin(SPLASH_EN_GPIO_Port, SPLASH_EN_Pin) == GPIO_PIN_SET )
		return true;
	else
		return false;
}

void activate_bootloader(void)
{
	HAL_PWR_EnableBkUpAccess();

	// Set bootloader flag (so bootloader knows to receive firmware)
	HAL_RTCEx_BKUPWrite(&hrtc, RTC_BKP_DR0, 0xDEADBEEF);

	// Trigger software reset
	NVIC_SystemReset();
}

/**
 * @brief Initializes the Digital Dash system with required configuration.
 *
 * This function sets up the Digital Dash by configuring its communication,
 * control, display, and filtering interfaces. It populates a
 * `DIGITALDASH_CONFIG` structure with references to relevant handler functions
 * and passes it to `digitaldash_init()`.
 *
 * The configuration includes:
 * - `dd_ecu_tx`: Pointer to the function handling CAN transmission to the ECU.
 * - `dd_host_ctrl`: Pointer to the function controlling the host (e.g., ESP32 reset).
 * - `dd_set_backlight`: Pointer to the function adjusting the LCD backlight.
 * - `dd_filter`: Pointer to the function used to add CAN filters.
 *
 * If initialization fails, the system calls `Error_Handler()` to halt or report the failure.
 */
void Digitaldash_Init( void )
{
    DIGITALDASH_CONFIG config;
    config.dd_ecu_tx               = &ECU_CAN_Tx;
    config.dd_host_ctrl            = &system_power;
    config.dd_set_backlight        = &LCD_Brightness;
    config.dd_filter               = &CAN_Filter;
    config.dd_background_save      = &write_background;
    config.dd_ke_tx                = &esp32_tx;
    config.dd_splash_override      = &read_splash_override;
    config.dd_bootloader_activate  = &activate_bootloader;

    if( digitaldash_init( &config ) != DIGITALDASH_INIT_OK )
        Error_Handler();
}

void spoof_config(void)
{
	// View 0
	set_view_enable(0, VIEW_STATE_ENABLED, true);
	set_view_num_gauges(0, 3, true);
	set_view_background(0, VIEW_BACKGROUND_USER1, true);
	set_view_gauge_theme(0, 0, GAUGE_THEME_LINEAR, true);
	set_view_gauge_theme(0, 1, GAUGE_THEME_STOCK_ST, true);
	set_view_gauge_theme(0, 2, GAUGE_THEME_DIGITAL, true);

	set_view_gauge_pid(0, 0, PID_UUID(MODE1, 0x000CU), true);
	set_view_gauge_units(0, 0, PID_UNITS_RPM, true);

	set_view_gauge_pid(0, 1, PID_UUID(CALC1, 0x006FU), true);
	set_view_gauge_units(0, 1, PID_UNITS_PSI, true);

	set_view_gauge_pid(0, 2, PID_UUID(MODE1, 0x005CU), true);
	set_view_gauge_units(0, 2, PID_UNITS_FAHRENHEIT, true);

	// View 1
	set_view_enable(1, VIEW_STATE_ENABLED, true);
	set_view_num_gauges(1, 1, true);
	set_view_background(1, VIEW_BACKGROUND_USER10, true);
	set_view_gauge_theme(1, 0, GAUGE_THEME_LINEAR, true);
	set_view_gauge_pid(1, 0, PID_UUID(CALC1, 0x006FU), true);
	set_view_gauge_units(1, 0, PID_UNITS_PSI, true);

	// Dynamic
	set_dynamic_enable(0, DYNAMIC_STATE_ENABLED, true);
	set_dynamic_pid(0, PID_UUID(CALC1, 0x006FU), true);
	set_dynamic_units(0, PID_UNITS_PSI, true);
	set_dynamic_priority(0, DYNAMIC_PRIORITY_LOW, true);
	set_dynamic_compare(0, DYNAMIC_COMPARISON_GREATER_THAN, true);
	set_dynamic_threshold(0, 12, true);
	set_dynamic_view_index(0, 0, true);

	set_dynamic_enable(1, DYNAMIC_STATE_ENABLED, true);
	set_dynamic_pid(1, PID_UUID(MODE1, 0x000CU), true);
	set_dynamic_units(1, PID_UNITS_RPM, true);
	set_dynamic_priority(1, DYNAMIC_PRIORITY_HIGH, true);
	set_dynamic_compare(1, DYNAMIC_COMPARISON_GREATER_THAN, true);
	set_dynamic_threshold(1, 8000, true);
	set_dynamic_view_index(1, 2, true);

	// Alert 0
	set_alert_enable(0, ALERT_STATE_ENABLED, true );
	set_alert_pid(0, PID_UUID(MODE1, 0x000CU), true );
	set_alert_units(0, PID_UNITS_RPM, true );
	set_alert_compare(0, ALERT_COMPARISON_GREATER_THAN_OR_EQUAL_TO, true );
	set_alert_threshold(0, 5250, true );
	char msg[64] = "Exceeded Redline!";
	set_alert_message(0, msg, false);
	set_alert_message(1, msg, false);
	set_alert_message(2, msg, false);
	set_alert_message(3, msg, false);
	set_alert_message(4, msg, false);
}

/**
 * @brief  Initialize the external NOR flash memory.
 *
 * This function initializes the NOR flash connected via HSPI using
 * Octo-SPI interface mode and DTR (Double Transfer Rate) for high-speed
 * operation.
 *
 * @note   Assumes BSP and hardware configuration are compatible with the
 *         MX25LM51245G flash memory.
 *
 * @retval None
 */
void flash_init(void)
{
	BSP_HSPI_NOR_Init_t hspi_init;
	hspi_init.InterfaceMode = MX25LM51245G_OPI_MODE;
	hspi_init.TransferRate = MX25LM51245G_DTR_TRANSFER;

	if( BSP_HSPI_NOR_Init(0, &hspi_init) != BSP_ERROR_NONE )
		Error_Handler();

	if( BSP_HSPI_NOR_EnableMemoryMappedMode(0) != BSP_ERROR_NONE )
		Error_Handler();
}

/**
 * @brief  Initialize the LCD backlight using PWM.
 *
 * This function sets the PWM duty cycle to control the brightness
 * of the LCD backlight and starts the PWM signal on the specified
 * timer and channel.
 *
 * @note   Assumes BKLT_TIM and BKLT_TIM_CHANNEL are properly configured.
 *
 * @retval None
 */
void backlight_init(void)
{
	__HAL_TIM_SET_COMPARE(BKLT_TIM, BKLT_TIM_CHANNEL, 0);
	if (HAL_TIM_PWM_Start(BKLT_TIM, BKLT_TIM_CHANNEL) != HAL_OK) {
		Error_Handler();
	}
}

/**
 * @brief  Initialize and start the FDCAN peripheral.
 *
 * This function configures the external CAN bus (EXT_CAN_BUS) for operation
 * using the FDCAN peripheral. It sets up filtering, interrupts, and starts
 * the FDCAN module.
 *
 * The configuration includes:
 * - Setting the global filter to reject all non-matching standard/extended
 *   and remote frames.
 * - Configuring interrupt lines for RX FIFO 0.
 * - Enabling notifications for new messages in RX FIFO 0 and RX FIFO 1.
 * - Starting the FDCAN module.
 *
 * If any step fails, the function calls Error_Handler().
 *
 * @note The interrupt configuration and activation appear to be duplicated;
 *       ensure this is intentional or consider removing the redundancy.
 *
 * @retval None
 */
void CAN_Init(void)
{
	/* Configure global filter to reject all non-matching frames */
	HAL_FDCAN_ConfigGlobalFilter(EXT_CAN_BUS, FDCAN_REJECT, FDCAN_REJECT, FDCAN_REJECT_REMOTE, FDCAN_REJECT_REMOTE);

	if( HAL_FDCAN_ConfigInterruptLines(EXT_CAN_BUS, FDCAN_IT_GROUP_RX_FIFO0, FDCAN_INTERRUPT_LINE0) != HAL_OK ) {
		Error_Handler();
	}

	/* Activate Interrupts */
	if( HAL_FDCAN_ActivateNotification(EXT_CAN_BUS, FDCAN_IT_RX_FIFO0_NEW_MESSAGE | FDCAN_IT_RX_FIFO1_NEW_MESSAGE, 0) != HAL_OK ) {
		Error_Handler();
	}

	/* Start the FDCAN module */
	if (HAL_FDCAN_Start(EXT_CAN_BUS) != HAL_OK) {
		Error_Handler();
	}

	if( HAL_FDCAN_ConfigInterruptLines(EXT_CAN_BUS, FDCAN_IT_GROUP_RX_FIFO0, FDCAN_INTERRUPT_LINE0) != HAL_OK ) {
		Error_Handler();
	}

	/* Activate Interrupts */
	if( HAL_FDCAN_ActivateNotification(EXT_CAN_BUS, FDCAN_IT_RX_FIFO0_NEW_MESSAGE | FDCAN_IT_RX_FIFO1_NEW_MESSAGE, 0) != HAL_OK ) {
		Error_Handler();
	}
}

static inline bool boot_cookie_is_set(void)
{
    uint32_t a = HAL_RTCEx_BKUPRead(&hrtc, RTC_BKP_DR1);
    uint32_t b = HAL_RTCEx_BKUPRead(&hrtc, RTC_BKP_DR2);
    return (a == BOOT_COOKIE) && (b == BOOT_COOKIE_INV);
}

bool first_boot(void)
{
    return !boot_cookie_is_set();
}

void mark_boot_seen(void)
{
    HAL_PWR_EnableBkUpAccess();                 // allow backup-domain writes
    HAL_RTCEx_BKUPWrite(&hrtc, RTC_BKP_DR1, BOOT_COOKIE);
    HAL_RTCEx_BKUPWrite(&hrtc, RTC_BKP_DR2, BOOT_COOKIE_INV);
}

void reset_esp32(void)
{

}

/* USER CODE END 0 */

int main(void)
{

  /* MCU Configuration--------------------------------------------------------*/

  /* Reset of all peripherals, Initializes the Flash interface and the Systick. */
  HAL_Init();

  /* Configure the System Power */
  SystemPower_Config();

  /* Configure the system clock */
  SystemClock_Config();
  /* GTZC initialisation */
  MX_GTZC_Init();

  /* USER CODE BEGIN SysInit */
  __enable_irq();
  /* USER CODE END SysInit */

  /* Initialize all configured peripherals */
  MX_GPIO_Init();
  MX_GPDMA1_Init();
  MX_DMA2D_Init();
  MX_HSPI1_Init();
  MX_I2C2_Init();
  MX_ICACHE_Init();
  MX_LTDC_Init();
  MX_RTC_Init();
  MX_USART1_UART_Init();
  MX_GPU2D_Init();
  MX_FLASH_Init();
  MX_DCACHE1_Init();
  MX_DCACHE2_Init();
  MX_FDCAN1_Init();
  MX_TIM17_Init();
  MX_I2C1_Init();
  MX_SPI3_Init();
  MX_TIM3_Init();
  MX_TIM15_Init();
  /* USER CODE BEGIN 2 */
  // Indicate Boot has started
  HAL_GPIO_WritePin(DBG_LED1_GPIO_Port, DBG_LED1_Pin, GPIO_PIN_SET);
  lv_init();
  lv_tick_set_cb(HAL_GetTick);
  lvgl_display_init();

  // Attach EEPROM read and write handlers
  settings_setReadHandler(eeprom_read);
  settings_setWriteHandler(eeprom_write);

  // Enable UART interrupt
  uart_rx_read_position = 0;
  if (HAL_UART_Receive_DMA(ESP32_UART, rx_buffer, RX_BUFFER_SIZE) != HAL_OK) {
    Error_Handler();
  }
  __HAL_UART_ENABLE_IT(ESP32_UART, UART_IT_IDLE);

  // Start 1ms timer tick for Digital Dash
  if (HAL_TIM_Base_Start_IT(&htim17) != HAL_OK) {
      Error_Handler();
  }

  // Spoof a config if EEPROM isn't present
  //spoof_config();

  //set_general_ee_version(0, 255, true);

  // If this is first power-on, reset the ESP32 to sync
  if(first_boot()) {
	  esp32_reset(HOST_PWR_DISABLED);
	  HAL_Delay(25);
	  esp32_reset(HOST_PWR_ENABLED);
  }

  mark_boot_seen();

  // Initialize the external flash
  flash_init();

  // Initialize the CAN bus
  CAN_Init();

  HAL_GPIO_WritePin(LCD_EN_GPIO_Port, LCD_EN_Pin, GPIO_PIN_SET);

  // Initialize the backlight
  backlight_init();

  // Enable the I2C slave connection to the ESP32
  if(HAL_I2C_EnableListen_IT(ESP32_I2C) != HAL_OK) {
    Error_Handler();
  }

  Digitaldash_Init();

  // Indicate Boot has ended
  HAL_GPIO_WritePin(DBG_LED1_GPIO_Port, DBG_LED1_Pin, GPIO_PIN_RESET);

  if( HAL_GPIO_ReadPin(USB_SLEEP_N_GPIO_Port, USB_SLEEP_N_Pin) )
	  dd_update_usb_state(USB_STATE_PRESENT);
  else
	  dd_update_usb_state(USB_STATE_NOT_PRESENT);

  // Log the start of the main while() loop
  /* USER CODE END 2 */

  /* Infinite loop */
  /* USER CODE BEGIN WHILE */
  while (1)
  {
	//HAL_I2C_Master_Transmit(ESP32_I2C, 0x5a, aTxBuffer, 4, 0xFFFF);
	UART_RecoverRxDma();
	if (!uart_rx_recovery_requested)
		UART_ProcessRxDma();
	digitaldash_service();

    /* USER CODE END WHILE */

  }
}

void SystemClock_Config(void)
{
  RCC_OscInitTypeDef RCC_OscInitStruct = {0};
  RCC_ClkInitTypeDef RCC_ClkInitStruct = {0};

  /** Configure the main internal regulator output voltage
  */
  if (HAL_PWREx_ControlVoltageScaling(PWR_REGULATOR_VOLTAGE_SCALE1) != HAL_OK)
  {
    Error_Handler();
  }

  /** Initializes the CPU, AHB and APB buses clocks
  */
  RCC_OscInitStruct.OscillatorType = RCC_OSCILLATORTYPE_LSI|RCC_OSCILLATORTYPE_HSE;
  RCC_OscInitStruct.HSEState = RCC_HSE_ON;
  RCC_OscInitStruct.LSIState = RCC_LSI_ON;
  RCC_OscInitStruct.LSIDiv = RCC_LSI_DIV1;
  RCC_OscInitStruct.PLL.PLLState = RCC_PLL_ON;
  RCC_OscInitStruct.PLL.PLLSource = RCC_PLLSOURCE_HSE;
  RCC_OscInitStruct.PLL.PLLMBOOST = RCC_PLLMBOOST_DIV1;
  RCC_OscInitStruct.PLL.PLLM = 1;
  RCC_OscInitStruct.PLL.PLLN = 10;
  RCC_OscInitStruct.PLL.PLLP = 8;
  RCC_OscInitStruct.PLL.PLLQ = 2;
  RCC_OscInitStruct.PLL.PLLR = 1;
  RCC_OscInitStruct.PLL.PLLRGE = RCC_PLLVCIRANGE_1;
  RCC_OscInitStruct.PLL.PLLFRACN = 0;
  if (HAL_RCC_OscConfig(&RCC_OscInitStruct) != HAL_OK)
  {
    Error_Handler();
  }

  /** Initializes the CPU, AHB and APB buses clocks
  */
  RCC_ClkInitStruct.ClockType = RCC_CLOCKTYPE_HCLK|RCC_CLOCKTYPE_SYSCLK
                              |RCC_CLOCKTYPE_PCLK1|RCC_CLOCKTYPE_PCLK2
                              |RCC_CLOCKTYPE_PCLK3;
  RCC_ClkInitStruct.SYSCLKSource = RCC_SYSCLKSOURCE_PLLCLK;
  RCC_ClkInitStruct.AHBCLKDivider = RCC_SYSCLK_DIV1;
  RCC_ClkInitStruct.APB1CLKDivider = RCC_HCLK_DIV1;
  RCC_ClkInitStruct.APB2CLKDivider = RCC_HCLK_DIV1;
  RCC_ClkInitStruct.APB3CLKDivider = RCC_HCLK_DIV1;

  if (HAL_RCC_ClockConfig(&RCC_ClkInitStruct, FLASH_LATENCY_4) != HAL_OK)
  {
    Error_Handler();
  }
}

/**
  * @brief Power Configuration
  * @retval None
  */
static void SystemPower_Config(void)
{
  HAL_PWREx_EnableVddIO2();

  /*
   * Switch to SMPS regulator instead of LDO
   */
  if (HAL_PWREx_ConfigSupply(PWR_SMPS_SUPPLY) != HAL_OK)
  {
    Error_Handler();
  }
}

/* USER CODE BEGIN 4 */

// Timer interrupt callback
void HAL_TIM_PeriodElapsedCallback(TIM_HandleTypeDef *htim) {
    if (htim->Instance == TIM17) {
    	digitaldash_tick();
    }
}

/* USER CODE END 4 */

void Error_Handler(void)
{
  __disable_irq();
  while (1)
  {
  }
}
